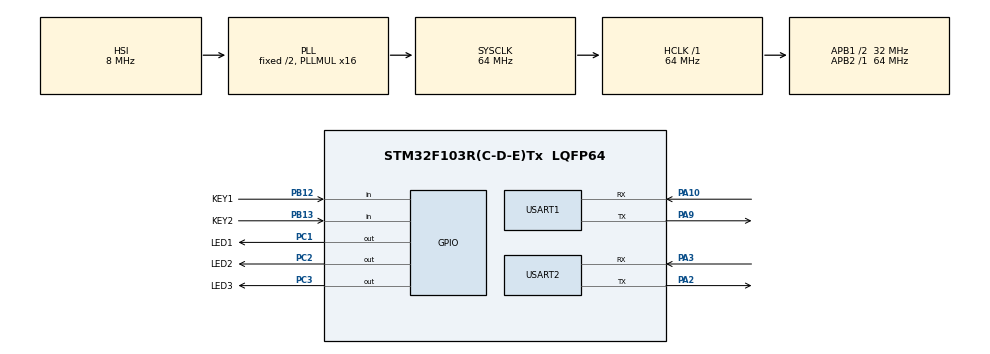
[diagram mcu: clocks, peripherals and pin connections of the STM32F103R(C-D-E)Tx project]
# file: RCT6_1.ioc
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Dma.Request0=USART2_RX
Dma.Request1=USART2_TX
Dma.Request2=USART1_RX
Dma.Request3=USART1_TX
Dma.USART1_RX.2.Direction=DMA_PERIPH_TO_MEMORY
Dma.USART1_RX.2.Instance=DMA1_Channel5
Dma.USART1_RX.2.MemDataAlignment=DMA_MDATAALIGN_BYTE
Dma.USART1_RX.2.MemInc=DMA_MINC_ENABLE
Dma.USART1_RX.2.Mode=DMA_CIRCULAR
Dma.USART1_RX.2.PeriphDataAlignment=DMA_PDATAALIGN_BYTE
Dma.USART1_RX.2.PeriphInc=DMA_PINC_DISABLE
Dma.USART1_RX.2.Priority=DMA_PRIORITY_LOW
Dma.USART1_TX.3.Direction=DMA_MEMORY_TO_PERIPH
Dma.USART1_TX.3.Instance=DMA1_Channel4
Dma.USART1_TX.3.MemDataAlignment=DMA_MDATAALIGN_BYTE
Dma.USART1_TX.3.MemInc=DMA_MINC_ENABLE
Dma.USART1_TX.3.Mode=DMA_NORMAL
Dma.USART1_TX.3.PeriphDataAlignment=DMA_PDATAALIGN_BYTE
Dma.USART1_TX.3.PeriphInc=DMA_PINC_DISABLE
Dma.USART1_TX.3.Priority=DMA_PRIORITY_LOW
Dma.USART2_RX.0.Direction=DMA_PERIPH_TO_MEMORY
Dma.USART2_RX.0.Instance=DMA1_Channel6
Dma.USART2_RX.0.MemDataAlignment=DMA_MDATAALIGN_BYTE
Dma.USART2_RX.0.MemInc=DMA_MINC_ENABLE
Dma.USART2_RX.0.Mode=DMA_CIRCULAR
Dma.USART2_RX.0.PeriphDataAlignment=DMA_PDATAALIGN_BYTE
Dma.USART2_RX.0.PeriphInc=DMA_PINC_DISABLE
Dma.USART2_RX.0.Priority=DMA_PRIORITY_LOW
Dma.USART2_TX.1.Direction=DMA_MEMORY_TO_PERIPH
Dma.USART2_TX.1.Instance=DMA1_Channel7
Dma.USART2_TX.1.MemDataAlignment=DMA_MDATAALIGN_BYTE
Dma.USART2_TX.1.MemInc=DMA_MINC_ENABLE
Dma.USART2_TX.1.Mode=DMA_NORMAL
Dma.USART2_TX.1.PeriphDataAlignment=DMA_PDATAALIGN_BYTE
Dma.USART2_TX.1.PeriphInc=DMA_PINC_DISABLE
Dma.USART2_TX.1.Priority=DMA_PRIORITY_LOW
Mcu.Family=STM32F1
Mcu.Name=STM32F103R(C-D-E)Tx
Mcu.Package=LQFP64
NVIC.DMA1_Channel4_IRQn=true\:0\:0\:false\:false\:true\:false
NVIC.DMA1_Channel5_IRQn=true\:0\:0\:false\:false\:true\:false
NVIC.DMA1_Channel6_IRQn=true\:0\:0\:false\:false\:true\:false
NVIC.DMA1_Channel7_IRQn=true\:0\:0\:false\:false\:true\:false
NVIC.PriorityGroup=NVIC_PRIORITYGROUP_4
NVIC.USART1_IRQn=true\:0\:0\:false\:false\:true\:true
NVIC.USART2_IRQn=true\:0\:0\:false\:false\:true\:true
PA10.Mode=Asynchronous
PA10.Signal=USART1_RX
PA13.Mode=Serial_Wire
PA13.Signal=SYS_JTMS-SWDIO
PA14.Mode=Serial_Wire
PA14.Signal=SYS_JTCK-SWCLK
PA2.Mode=Asynchronous
PA2.Signal=USART2_TX
PA3.Mode=Asynchronous
PA3.Signal=USART2_RX
PA9.Mode=Asynchronous
PA9.Signal=USART1_TX
PB12.GPIO_Label=KEY1
PB12.Signal=GPIO_Input
PB13.GPIO_Label=KEY2
PB13.Signal=GPIO_Input
PC1.GPIO_Label=LED1
PC1.Signal=GPIO_Output
PC14-OSC32_IN.Mode=LSE-External-Oscillator
PC14-OSC32_IN.Signal=RCC_OSC32_IN
PC15-OSC32_OUT.Mode=LSE-External-Oscillator
PC15-OSC32_OUT.Signal=RCC_OSC32_OUT
PC2.GPIO_Label=LED2
PC2.Signal=GPIO_Output
PC3.GPIO_Label=LED3
PC3.Signal=GPIO_Output
ProjectManager.HeapSize=0x200
ProjectManager.StackSize=0x400
ProjectManager.TargetToolchain=MDK-ARM V5
RCC.AHBFreq_Value=64000000
RCC.APB1CLKDivider=RCC_HCLK_DIV2
RCC.APB1Freq_Value=32000000
RCC.APB1TimFreq_Value=64000000
RCC.APB2Freq_Value=64000000
RCC.APB2TimFreq_Value=64000000
RCC.HCLKFreq_Value=64000000
RCC.PLLMUL=RCC_PLL_MUL16
RCC.SYSCLKFreq_VALUE=64000000
RCC.SYSCLKSource=RCC_SYSCLKSOURCE_PLLCLK
RCC.USBFreq_Value=64000000
USART1.VirtualMode=VM_ASYNC
USART2.VirtualMode=VM_ASYNC
board=RCT6_1

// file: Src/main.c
/**
  ******************************************************************************
  * @file           : main.c
  * @brief          : Main program body
  ******************************************************************************
  ** This notice applies to any and all portions of this file
  * that are not between comment pairs USER CODE BEGIN and
  * USER CODE END. Other portions of this file, whether
  * inserted by the user or by software development tools
  * are owned by their respective copyright owners.
  *
  * COPYRIGHT(c) 2018 STMicroelectronics
  *
  * Redistribution and use in source and binary forms, with or without modification,
  * are permitted provided that the following conditions are met:
  *   1. Redistributions of source code must retain the above copyright notice,
  *      this list of conditions and the following disclaimer.
  *   2. Redistributions in binary form must reproduce the above copyright notice,
  *      this list of conditions and the following disclaimer in the documentation
  *      and/or other materials provided with the distribution.
  *   3. Neither the name of STMicroelectronics nor the names of its contributors
  *      may be used to endorse or promote products derived from this software
  *      without specific prior written permission.
  *
  * THIS SOFTWARE IS PROVIDED BY THE COPYRIGHT HOLDERS AND CONTRIBUTORS "AS IS"
  * AND ANY EXPRESS OR IMPLIED WARRANTIES, INCLUDING, BUT NOT LIMITED TO, THE
  * IMPLIED WARRANTIES OF MERCHANTABILITY AND FITNESS FOR A PARTICULAR PURPOSE ARE
  * DISCLAIMED. IN NO EVENT SHALL THE COPYRIGHT HOLDER OR CONTRIBUTORS BE LIABLE
  * FOR ANY DIRECT, INDIRECT, INCIDENTAL, SPECIAL, EXEMPLARY, OR CONSEQUENTIAL
  * DAMAGES (INCLUDING, BUT NOT LIMITED TO, PROCUREMENT OF SUBSTITUTE GOODS OR
  * SERVICES; LOSS OF USE, DATA, OR PROFITS; OR BUSINESS INTERRUPTION) HOWEVER
  * CAUSED AND ON ANY THEORY OF LIABILITY, WHETHER IN CONTRACT, STRICT LIABILITY,
  * OR TORT (INCLUDING NEGLIGENCE OR OTHERWISE) ARISING IN ANY WAY OUT OF THE USE
  * OF THIS SOFTWARE, EVEN IF ADVISED OF THE POSSIBILITY OF SUCH DAMAGE.
  *
  ******************************************************************************
  */
#include "main.h"
#include "stm32f1xx_hal.h"
#include "dma.h"
#include "usart.h"
#include "gpio.h"

/* USER CODE BEGIN Includes */
#include "key_user.h"
uint8_t CH[10] = "1234567890";
uint16_t CH1[10] = {1,2,3,4,5,6,7,8,9,0};
uint8_t D = '\n';
uint8_t data;
/* USER CODE END Includes */

/* USER CODE BEGIN PV */
/* Private variables ---------------------------------------------------------*/

/* USER CODE END PV */

void SystemClock_Config(void);

/* USER CODE BEGIN PFP */
/* Private function prototypes -----------------------------------------------*/

/* USER CODE END PFP */

/* USER CODE BEGIN 0 */
int fputc(int ch,FILE *f)
{
 uint8_t temp[1]={ch};
 HAL_UART_Transmit(&huart2,temp,1,2);
 return(ch);
}

/* USER CODE END 0 */

int main(void)
{
  /* USER CODE BEGIN 1 */
	int i;

  /* USER CODE END 1 */

  /* MCU Configuration----------------------------------------------------------*/

  /* Reset of all peripherals, Initializes the Flash interface and the Systick. */
  HAL_Init();

  /* Configure the system clock */
  SystemClock_Config();

  /* Initialize all configured peripherals */
  MX_GPIO_Init();
  MX_DMA_Init();
  MX_USART2_UART_Init();
  MX_USART1_UART_Init();

  /* Infinite loop */
  /* USER CODE BEGIN WHILE */
  while (1)
  {
//        HAL_UART_Transmit(&huart2, (uint8_t *)CH, 5, 1);
////	  printf("\n");
//	      HAL_UART_Transmit_DMA(&huart2,(uint8_t *)CH, 5);
//        printf("\n");
//	      HAL_UART_Transmit_IT(&huart2,(uint8_t *)CH, 5);
//	      printf("\n");

//	      HAL_UART_Transmit(&huart2, &CH[0], 1, 1);
//	      printf("\n");
//	      HAL_Delay(1000);
////	      HAL_UART_Transmit_DMA(&huart2, &CH[1], 1);
//	      printf("\n");
////	  HAL_Delay(1000);
//	      HAL_UART_Transmit_IT(&huart2, &CH[2], 1);
////	      printf("\n");
//	  HAL_Delay(1000);

////		  HAL_GPIO_WritePin(LED1_GPIO_Port, LED1_Pin, GPIO_PIN_SET);
//	      HAL_Delay(2000);

//	  if(HAL_GPIO_ReadPin(GPIOD, KEY1_Pin) == GPIO_PIN_SET)

        HAL_UART_Receive(&huart1, &data, 1, 1);

		switch(data)
		{
			case 0x31:
										HAL_GPIO_WritePin(GPIOC,LED1_Pin, GPIO_PIN_SET);
                                      HAL_GPIO_WritePin(GPIOC,LED2_Pin, GPIO_PIN_RESET);
										HAL_Delay(2);
				break;
			case 0x32:
										HAL_GPIO_WritePin(GPIOC,LED1_Pin, GPIO_PIN_RESET);
                                        HAL_GPIO_WritePin(GPIOC,LED2_Pin, GPIO_PIN_SET);
										HAL_Delay(2);
				break;
			case 0x33:
										HAL_GPIO_WritePin(GPIOC,LED1_Pin|LED2_Pin, GPIO_PIN_SET);
										HAL_Delay(2);
				break;
			case 0x34:
										HAL_GPIO_WritePin(GPIOC,LED1_Pin|LED2_Pin, GPIO_PIN_RESET);
			                            HAL_Delay(2);
				break;
		}
//
//		if(HAL_GPIO_ReadPin(GPIOB, KEY2_Pin) == GPIO_PIN_RESET)
//		{
////			HAL_Delay(10);
//			HAL_UART_Transmit(&huart2, CH, 1, 1);
//		HAL_UART_Transmit_DMA(&huart2, CH, 1);
//		HAL_UART_Transmit_IT(&huart2, CH, 1);
		HAL_UART_Transmit_IT(&huart1, &CH[1], 1);
		HAL_Delay(1000);
//		}
//

//		switch(KEY_Scan(0))
//		{
//			case KEY0_PRES:
//										HAL_UART_Transmit(&huart2, &CH[0], 1, 1);
//										HAL_Delay(2);
//				break;
//			case KEY1_PRES:
//										HAL_UART_Transmit(&huart2, &CH[1], 1, 1);
//										HAL_Delay(2);
//				break;
//			case KEY2_PRES:
//										HAL_UART_Transmit(&huart2, &CH[2], 1, 1);
//										HAL_Delay(2);
//				break;
//			case WKUP_PRES:
//										HAL_UART_Transmit(&huart2, &CH[3], 1, 1);
//			                            HAL_Delay(2);
//				break;
//		}
//		HAL_Delay(10);

//	  for(i=0; i<10;i++)
//	  {
////		  HAL_UART_Transmit(&huart2, &CH[i], 1, 1);
//		  HAL_UART_Transmit_DMA(&huart2, &CH[i], 1);
////		  HAL_UART_Transmit_IT(&huart2, &CH[i], 1);
//		  printf("\n");
//	      HAL_Delay(1000);
//	  }

  /* USER CODE END WHILE */

  }

}

void SystemClock_Config(void)
{

  RCC_OscInitTypeDef RCC_OscInitStruct;
  RCC_ClkInitTypeDef RCC_ClkInitStruct;

    /**Initializes the CPU, AHB and APB busses clocks
    */
  RCC_OscInitStruct.OscillatorType = RCC_OSCILLATORTYPE_HSI;
  RCC_OscInitStruct.HSIState = RCC_HSI_ON;
  RCC_OscInitStruct.HSICalibrationValue = 16;
  RCC_OscInitStruct.PLL.PLLState = RCC_PLL_ON;
  RCC_OscInitStruct.PLL.PLLSource = RCC_PLLSOURCE_HSI_DIV2;
  RCC_OscInitStruct.PLL.PLLMUL = RCC_PLL_MUL16;
  if (HAL_RCC_OscConfig(&RCC_OscInitStruct) != HAL_OK)
  {
    _Error_Handler(__FILE__, __LINE__);
  }

    /**Initializes the CPU, AHB and APB busses clocks
    */
  RCC_ClkInitStruct.ClockType = RCC_CLOCKTYPE_HCLK|RCC_CLOCKTYPE_SYSCLK
                              |RCC_CLOCKTYPE_PCLK1|RCC_CLOCKTYPE_PCLK2;
  RCC_ClkInitStruct.SYSCLKSource = RCC_SYSCLKSOURCE_PLLCLK;
  RCC_ClkInitStruct.AHBCLKDivider = RCC_SYSCLK_DIV1;
  RCC_ClkInitStruct.APB1CLKDivider = RCC_HCLK_DIV2;
  RCC_ClkInitStruct.APB2CLKDivider = RCC_HCLK_DIV1;

  if (HAL_RCC_ClockConfig(&RCC_ClkInitStruct, FLASH_LATENCY_2) != HAL_OK)
  {
    _Error_Handler(__FILE__, __LINE__);
  }

    /**Configure the Systick interrupt time
    */
  HAL_SYSTICK_Config(HAL_RCC_GetHCLKFreq()/1000);

    /**Configure the Systick
    */
  HAL_SYSTICK_CLKSourceConfig(SYSTICK_CLKSOURCE_HCLK);

  /* SysTick_IRQn interrupt configuration */
  HAL_NVIC_SetPriority(SysTick_IRQn, 0, 0);
}

/* USER CODE BEGIN 4 */
 void HAL_UART_TxCpltCallback(UART_HandleTypeDef *huart)
{
	 if(huart==&huart2)
	 {
//		 HAL_GPIO_TogglePin(GPIOC, LED1_Pin);

	 }

}

void HAL_UART_TxHalfCpltCallback(UART_HandleTypeDef *huart)
{
	 if(huart==&huart2)
	 {
//		 HAL_GPIO_TogglePin(GPIOC, LED2_Pin);

	 }
}

/* USER CODE END 4 */

void _Error_Handler(char *file, int line)
{
  while(1)
  {
  }
}

/************************ (C) COPYRIGHT STMicroelectronics *****END OF FILE****/
